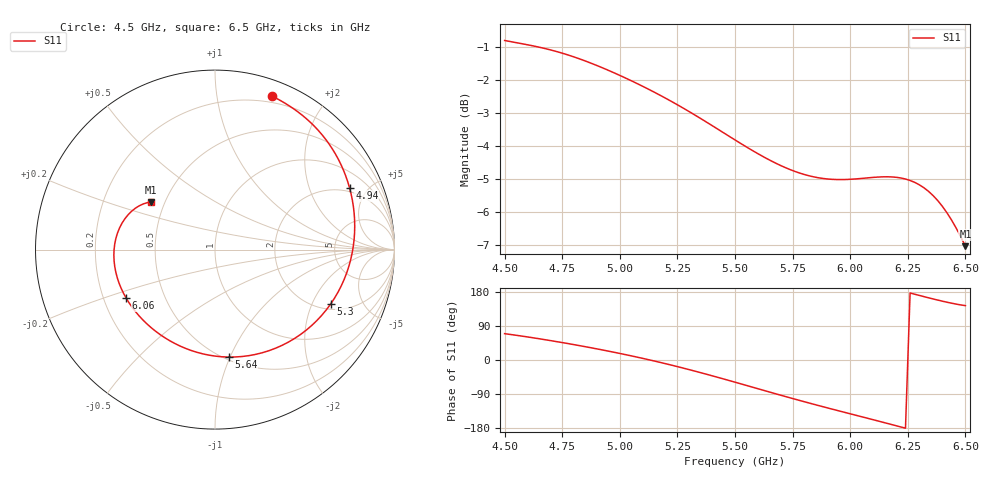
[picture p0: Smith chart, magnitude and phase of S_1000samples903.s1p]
! TOUCHSTONE file generated by CST MICROWAVE STUDIO
! Date and time: Sat Oct 29 18:17:17 2022
! Project name: L.cst
! Parameters = {Di=1.27; Epsilon_r=1.56; InnerDiameter=1.27; Length=2; Lf=10; Lg=60; OuterConductorThickness=0.2921; OuterDiameter=3.6; Wf=3; Wp=41.2; de=1.5; df=6.8; g=0.8; gx=1.1749; gy=1.16602; h=2.34; hf=1.524; px=8.53777; py=10.5784; w=9.7; wx=7.36287; wy=9.41241}
! Header version: 2018
! Port assignment regex: !\s*Touchstone port\s*([0-9]+)\s*=\s*(CST MWS port|CST DS port)\s*([0-9]+|Zmin|Zmax)\s*\(\"(.*)\"\)(\s*mode\s*([0-9]+))?.*
! Touchstone port assignment:
! Touchstone port 1 = CST MWS port 1 ("")
# GHz S DB R 50
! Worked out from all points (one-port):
!   101 points, 4.5 GHz to 6.5 GHz, reference 50 ohm
!   lowest |S11| = -7.0 dB at 6.5 GHz (marker M1), VSWR 2.60, Z = 21 + j13.8 ohm
!   |S11| at or under -10 dB: nowhere
!   S11 on the Smith chart (normalised r, x): 4.5 GHz: 0.14, +1.43; 4.94 GHz: 1.76, +3.80; 5.3 GHz: 2.25, -2.77; 5.64 GHz: 0.52, -0.99; 6.06 GHz: 0.30, -0.23; 6.5 GHz: 0.42, +0.28
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4.5  -0.80 69.5
4.64  -0.99 57.0
4.76  -1.20 44.9
4.86  -1.45 34.0
4.94  -1.67 24.7
5  -1.86 17.3
5.08  -2.12 6.9
5.14  -2.33 -1.3
5.2  -2.55 -10.0
5.26  -2.79 -19.0
5.3  -2.95 -25.2
5.4  -3.38 -41.5
5.46  -3.64 -51.7
5.5  -3.81 -58.5
5.56  -4.07 -68.9
5.64  -4.39 -82.8
5.7  -4.60 -93.2
5.76  -4.77 -103.3
5.88  -4.98 -123.0
6  -5.01 -142.0
6.06  -4.98 -151.4
6.16  -4.93 -167.2
6.22  -4.97 -176.8
6.26  -5.04 176.8
6.32  -5.26 167.3
6.4  -5.83 155.3
6.46  -6.49 147.5
6.5  -7.04 143.5
